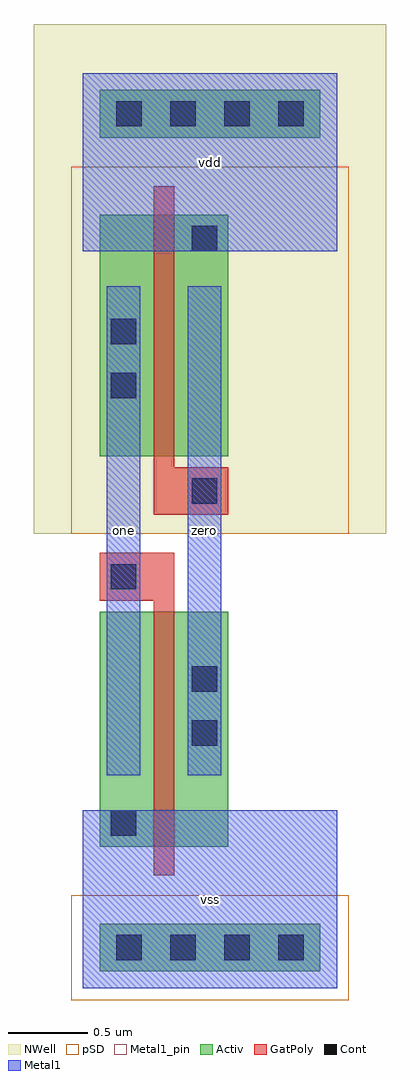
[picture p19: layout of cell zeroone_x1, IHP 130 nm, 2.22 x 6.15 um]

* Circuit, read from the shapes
.subckt zeroone_x1 one vdd vss zero
XM1 zero one vss vss sg13_lv_nmos w=1.48u l=0.13u
XM2 vdd zero one vdd sg13_lv_pmos w=1.52u l=0.13u
.ends

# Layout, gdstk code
import gdstk
lib = gdstk.Library(unit=1e-6, precision=1e-09)
def R(c, l, rs):  # rectangles x0, y0, x1, y1
    for r in rs: c.add(gdstk.rectangle(r[:2], r[2:], *l))
def A(c, l, x, y, w, h, nx, ny, dx, dy):  # array of equal rectangles
    R(c, l, [(x+i*dx, y+j*dy, x+i*dx+w, y+j*dy+h) for i in range(nx) for j in range(ny)])
def P(c, l, *ps):  # polygons
    for p in ps: c.add(gdstk.Polygon(p, *l))
Activ = (1, 0)
GatPoly = (5, 0)
Cont = (6, 0)
Metal1 = (8, 0)
Metal1_pin = (8, 2)
pSD = (14, 0)
NWell = (31, 0)

zeroone_x1 = lib.new_cell('zeroone_x1')
R(zeroone_x1, Activ, [(0.105,0.105,1.495,0.405), (0.105,0.89,0.915,2.37), (0.105,3.35,0.915,4.87), (0.105,5.355,1.495,5.655)])
P(zeroone_x1, GatPoly, [(0.445,0.71),(0.445,2.44),(0.105,2.44),(0.105,2.74),(0.575,2.74),(0.575,0.71)],
  [(0.445,2.98),(0.445,5.05),(0.575,5.05),(0.575,3.28),(0.915,3.28),(0.915,2.98)])
A(zeroone_x1, Cont, 0.21, 0.175, 0.16, 0.16, 4, 2, 0.34, 5.25)
R(zeroone_x1, Cont, [(0.175,0.96,0.335,1.12), (0.685,1.525,0.845,1.685), (0.685,1.865,0.845,2.025), (0.175,2.51,0.335,2.67), (0.685,3.05,0.845,3.21), (0.175,3.715,0.335,3.875), (0.175,4.055,0.335,4.215), (0.685,4.64,0.845,4.8)])
R(zeroone_x1, Metal1, [(0,0,1.6,1.12), (0.15,1.34,0.36,4.42), (0.66,1.34,0.87,4.42), (0,4.64,1.6,5.76)])
R(zeroone_x1, Metal1_pin, [(0,0,1.6,1.12), (0.15,1.34,0.36,4.42), (0.66,1.34,0.87,4.42), (0,4.64,1.6,5.76)])
R(zeroone_x1, pSD, [(-0.075,-0.075,1.675,0.585), (-0.075,2.86,1.675,5.17)])
R(zeroone_x1, NWell, [(-0.31,2.86,1.91,6.07)])
zeroone_x1.add(gdstk.Label('vss', (0.8,0.56), layer=8, texttype=2))
zeroone_x1.add(gdstk.Label('one', (0.255,2.88), layer=8, texttype=2))
zeroone_x1.add(gdstk.Label('vdd', (0.8,5.2), layer=8, texttype=2))
zeroone_x1.add(gdstk.Label('zero', (0.765,2.88), layer=8, texttype=2))

lib.write_gds('zeroone_x1.gds')
